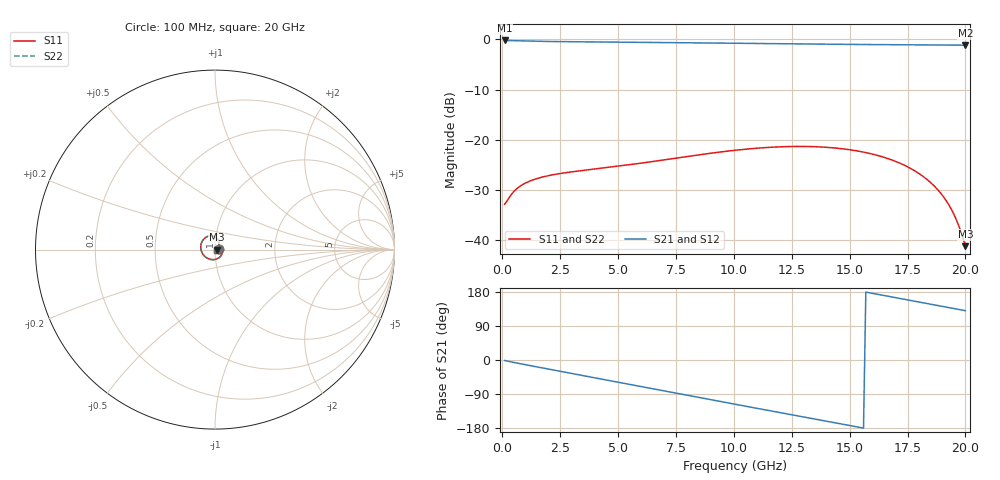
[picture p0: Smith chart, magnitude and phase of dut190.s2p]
! Touchstone file exported from HFSS 2026.1.0
!  File:  C:/ffzhzh/LocalFiles/Ansys_Project_Files/temp_train_TSV_RDL_190_1783058607_46780.aedt
!  Generated:  02:11:58 PM Jul  3, 2026
!  Design:  TSV_RDL
!  Project:  temp_train_TSV_RDL_190_1783058607_46780
! Variables:
!  h_bsmrdl = 2.08um
!  h_ox = 20um
!  h_rdl = 5um
!  h_sub = 97.88um
!  h_tmrdl = 2.24um
!  h_tsv = 97.88um
!  h_via = 3um
!  l_bsmrdl = 438.6um
!  l_sub = 3513.55um
!  l_tmrdl = 411.51um
!  m_sub = 200um
!  pitch = 28.44um
!  r_tsv = 6.01um
!  s_tmrdl = 10um
!  w_bsmrdl = 27.18um
!  w_sub = 500um
!  w_tmrdl = 23.39um
!  x_tsv_center1 = 423.205um
!  x_tsv_center2 = 888.985um
!  x_tsv_center3 = 1323.885um
!  x_tsv_center4 = 1789.665um
!  x_tsv_center5 = 2224.565um
!  x_tsv_center6 = 2690.345um
# GHz S MA R 50.000000
! Terminal data exported
! Port[1] = TM_RDL1_1_T1
! Port[2] = TM_RDL5_1_T1
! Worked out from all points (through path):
!   200 points, 100 MHz to 20 GHz, reference 50 ohm
!   highest |S21| = -0.20 dB at 100 MHz (marker M1); lowest = -1.1 dB at 20 GHz (marker M2)
!   group delay of S21, straight-line fit = 31.8 ps
!   lowest |S11| = -41.3 dB at 20 GHz (marker M3), VSWR 1.02, Z = 50.9 - j0.0448 ohm
!   |S11| at or under -10 dB: start of sweep to end of sweep
!   |S22| runs from -41.2 to -21.3 dB; largest |S21 - S12| = 2.1e-14
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0.1  0.0227 5.9  0.9775 -1.4  0.9775 -1.4  0.0227 5.9
! Gamma 0 0 0 0
! Port Impedance 50 0 50 0
0.6  0.03206 8.1  0.9691 -7.7  0.9691 -7.7  0.03207 8.1
1.1  0.03786 -2.3  0.9625 -13.6  0.9625 -13.6  0.03786 -2.3
2.3  0.04516 -29.3  0.9528 -27.5  0.9528 -27.5  0.04519 -29.2
3.5  0.04937 -55.4  0.947 -41.3  0.947 -41.3  0.04944 -55.4
5.2  0.0551 -91.1  0.9399 -60.9  0.9399 -60.9  0.05522 -91.0
6.8  0.06196 -123.1  0.9329 -79.4  0.9329 -79.4  0.06211 -123.0
8.4  0.07011 -153.1  0.9251 -97.8  0.9251 -97.8  0.07025 -152.8
9.2  0.07426 -167.1  0.9209 -107.0  0.9209 -107.0  0.07439 -166.9
10.1  0.0786 177.7  0.9161 -117.3  0.9161 -117.3  0.07872 178.0
11.8  0.0845 150.8  0.9071 -136.6  0.9071 -136.6  0.08457 151.1
13.4  0.08529 127.1  0.8993 -154.8  0.8993 -154.8  0.0853 127.3
14.3  0.08292 114.2  0.8954 -165.0  0.8954 -165.0  0.0829 114.5
15.1  0.0788 103.0  0.8923 -174.0  0.8923 -174.0  0.07875 103.2
16.7  0.06424 80.6  0.8869 167.8  0.8869 167.8  0.06415 80.8
17.9  0.0475 63.1  0.8833 154.2  0.8833 154.2  0.04739 63.2
18.4  0.03909 55.0  0.8819 148.5  0.8819 148.5  0.03897 55.1
18.8  0.03179 47.8  0.8807 143.9  0.8807 143.9  0.03167 47.8
19.2  0.02407 39.0  0.8795 139.3  0.8795 139.3  0.02395 38.9
19.5  0.01808 30.0  0.8785 135.9  0.8785 135.9  0.01799 29.6
19.7  0.01411 21.3  0.8779 133.6  0.8779 133.6  0.01403 20.7
20  0.008659 -2.9  0.8769 130.1  0.8769 130.1  0.00866 -4.1
